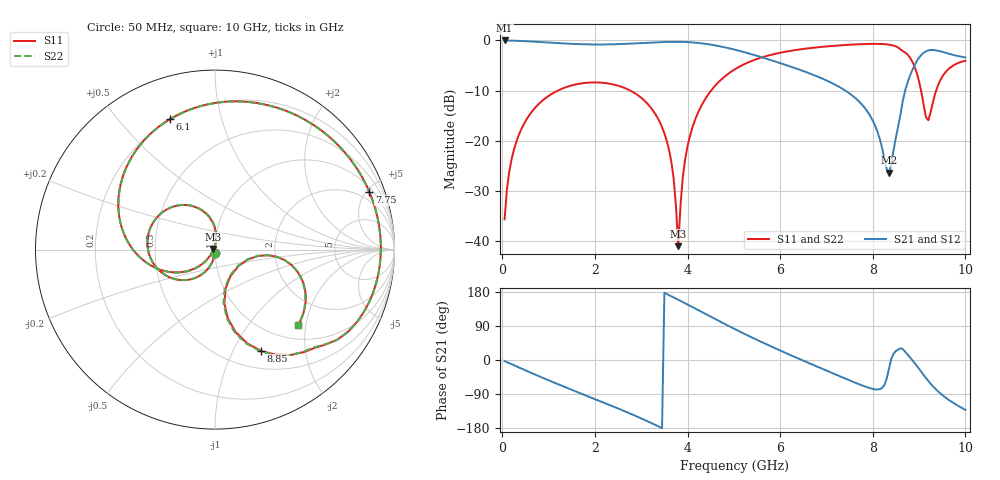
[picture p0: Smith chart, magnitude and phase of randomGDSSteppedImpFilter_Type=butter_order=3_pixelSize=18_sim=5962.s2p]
! freq	dB(S11)	phase(S11)	dB(S12)	phase(S12)
!  dB(S21)	phase(S21)	dB(S22)	phase(S22)
!S-par simulation data
#  GHz  S  DB  R 50
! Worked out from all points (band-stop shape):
!   200 points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, 50 MHz to 10 GHz, reference 50 ohm
!   highest |S21| = 0.00 dB at 50 MHz (marker M1); lowest = -26.4 dB at 8.35 GHz (marker M2)
!   |S21| within 3 dB of the highest: start of sweep to 5.474 GHz; 9.038 GHz to 9.787 GHz (749.4 MHz wide, 7.96 % of centre)
!   lowest |S11| = -41.1 dB at 3.8 GHz (marker M3), VSWR 1.02, Z = 49.2 + j0.28 ohm
!   |S11| at or under -10 dB: start of sweep to 1.2 GHz; 2.761 GHz to 4.51 GHz (1.749 GHz wide, 48.1 % of centre); 9.042 GHz to 9.37 GHz (327.9 MHz wide, 3.56 % of centre)
!   |S22| runs from -43.5 to -0.7 dB; largest |S21 - S12| = 0
!   S11 on the Smith chart (normalised r, x): 50 MHz: 1.00, -0.03; 6.1 GHz: 0.20, +0.70; 7.75 GHz: 1.28, +5.24; 8.85 GHz: 0.71, -1.29; 10 GHz: 1.32, -1.81
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0.05  -35.71 -92.7  -0.00 -2.8  -0.00 -2.8  -35.71 -92.7
0.2  -23.75 -101.4  -0.04 -11.1  -0.04 -11.1  -23.75 -101.4
0.5  -16.13 -117.9  -0.15 -27.3  -0.15 -27.3  -16.13 -118.0
1.1  -10.49 -149.3  -0.48 -58.7  -0.48 -58.7  -10.49 -149.4
1.75  -8.52 178.6  -0.77 -90.9  -0.77 -90.9  -8.52 178.4
2.6  -9.34 136.9  -0.70 -133.0  -0.70 -133.0  -9.34 136.5
3.4  -16.30 95.1  -0.34 -176.7  -0.34 -176.7  -16.30 94.2
3.7  -27.54 85.7  -0.28 165.2  -0.28 165.2  -27.62 82.6
3.8  -41.07 161.2  -0.28 159.0  -0.28 159.0  -43.47 162.9
3.9  -27.11 -129.5  -0.30 152.7  -0.30 152.7  -27.19 -126.7
4.1  -17.54 -134.6  -0.40 140.0  -0.40 140.0  -17.55 -133.8
4.55  -9.54 -161.1  -0.91 111.1  -0.91 111.1  -9.54 -160.9
5.05  -5.60 168.4  -1.91 79.8  -1.91 79.8  -5.60 168.3
6.1  -2.28 109.0  -4.83 19.6  -4.83 19.6  -2.28 108.7
6.7  -1.47 77.1  -6.81 -12.3  -6.81 -12.3  -1.48 76.7
7.75  -0.74 20.4  -12.63 -66.1  -12.63 -66.1  -0.74 19.9
8.35  -0.84 -18.6  -26.42 -22.6  -26.42 -22.6  -0.85 -19.4
8.85  -4.16 -65.6  -5.99 0.3  -5.99 0.3  -4.18 -66.2
9.05  -10.35 -80.1  -2.87 -31.6  -2.87 -31.6  -10.41 -81.0
9.2  -15.93 -35.1  -1.99 -55.4  -1.99 -55.4  -16.10 -35.3
9.5  -7.25 -11.3  -2.27 -92.4  -2.27 -92.4  -7.26 -11.4
10  -4.08 -42.0  -3.39 -131.6  -3.39 -131.6  -4.08 -42.4
